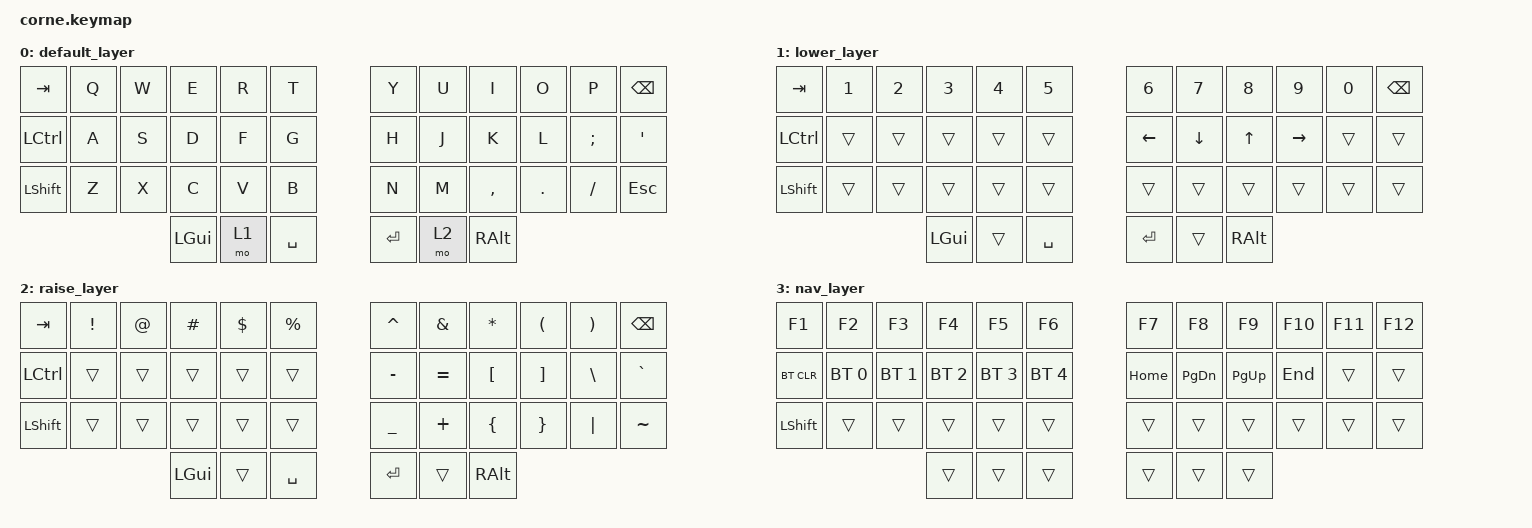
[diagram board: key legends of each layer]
/*
 * Copyright (c) 2020 The ZMK Contributors
 *
 * SPDX-License-Identifier: MIT
 */

#include <behaviors.dtsi>
#include <dt-bindings/zmk/keys.h>
#include <dt-bindings/zmk/bt.h>

/ {
        /*
         * COMBO : J + K simultanément = ESC (timeout 50ms)
         *
         * Les index de touches correspondent aux positions physiques sur le Corne :
         *   0–11  = rangée du haut  (gauche puis droite)
         *   12–23 = rangée du milieu
         *   24–35 = rangée du bas
         *   36–41 = pouces
         *
         * J = position 19 (rangée milieu, 2e touche droite)
         * K = position 20 (rangée milieu, 3e touche droite)
         *
         * Ce combo est actif sur tous les layers (aucune restriction de layer).
         * 50ms est le sweet spot communautaire : assez court pour éviter les
         * déclenchements accidentels en tapant vite, assez long pour être fiable.
         * Si tu trouves que ça rate, monte à 60 ou 70ms dans timeout-ms.
         */
        combos {
                compatible = "zmk,combos";
                combo_esc {
                        timeout-ms = <50>;
                        key-positions = <19 20>;
                        bindings = <&kp ESC>;
                };
        };

        /*
         * TRI-LAYER : quand lower (layer 1) ET raise (layer 2) sont actifs
         * simultanément, ZMK active automatiquement le layer 3 (navigation).
         * Tu n'as pas besoin d'une touche dédiée — c'est automatique.
         */
        conditional_layers {
                compatible = "zmk,conditional-layers";
                tri_layer {
                        if-layers = <1 2>;
                        then-layer = <3>;
                };
        };

        keymap {
                compatible = "zmk,keymap";

                default_layer {
// -----------------------------------------------------------------------------------------
// |  TAB |  Q  |  W  |  E  |  R  |  T  |   |  Y  |  U   |  I  |  O  |  P  | BSPC |
// | CTRL |  A  |  S  |  D  |  F  |  G  |   |  H  |  J   |  K  |  L  |  ;  |  '   |
// | SHFT |  Z  |  X  |  C  |  V  |  B  |   |  N  |  M   |  ,  |  .  |  /  | ESC  |
//                    | GUI | LWR | SPC |   | ENT | RSE  | ALT |
                        bindings = <
   &kp TAB   &kp Q &kp W &kp E &kp R &kp T   &kp Y &kp U  &kp I     &kp O   &kp P    &kp BSPC
   &kp LCTRL &kp A &kp S &kp D &kp F &kp G   &kp H &kp J  &kp K     &kp L   &kp SEMI &kp SQT
   &kp LSHFT &kp Z &kp X &kp C &kp V &kp B   &kp N &kp M  &kp COMMA &kp DOT &kp FSLH &kp ESC
                  &kp LGUI &mo 1 &kp SPACE   &kp RET &mo 2 &kp RALT
                        >;
                };

                lower_layer {
// -----------------------------------------------------------------------------------------
// |  TAB |  1  |  2  |  3  |  4  |  5  |   |  6  |  7  |  8  |  9  |  0  | BSPC |
// | CTRL |     |     |     |     |     |   | LFT | DWN |  UP | RGT |     |      |
// | SHFT |     |     |     |     |     |   |     |     |     |     |     |      |
//                    | GUI |     | SPC |   | ENT |     | ALT |
                        bindings = <
   &kp TAB   &kp N1 &kp N2 &kp N3 &kp N4 &kp N5       &kp N6   &kp N7   &kp N8 &kp N9    &kp N0 &kp BSPC
   &kp LCTRL &trans &trans &trans &trans &trans         &kp LEFT &kp DOWN &kp UP &kp RIGHT &trans &trans
   &kp LSHFT &trans &trans &trans &trans &trans         &trans   &trans   &trans &trans    &trans &trans
                           &kp LGUI &trans &kp SPACE   &kp RET  &trans   &kp RALT
                        >;
                };

                raise_layer {
// -----------------------------------------------------------------------------------------
// |  TAB |  !  |  @  |  #  |  $  |  %  |   |  ^  |  &  |  *  |  (  |  )  | BSPC |
// | CTRL |     |     |     |     |     |   |  -  |  =  |  [  |  ]  |  \  |  `   |
// | SHFT |     |     |     |     |     |   |  _  |  +  |  {  |  }  | "|" |  ~   |
//                    | GUI |     | SPC |   | ENT |     | ALT |
                        bindings = <
   &kp TAB   &kp EXCL &kp AT &kp HASH &kp DLLR &kp PRCNT   &kp CARET &kp AMPS  &kp ASTRK &kp LPAR &kp RPAR &kp BSPC
   &kp LCTRL &trans   &trans &trans   &trans   &trans       &kp MINUS &kp EQUAL &kp LBKT  &kp RBKT &kp BSLH &kp GRAVE
   &kp LSHFT &trans   &trans &trans   &trans   &trans       &kp UNDER &kp PLUS  &kp LBRC  &kp RBRC &kp PIPE &kp TILDE
                              &kp LGUI &trans  &kp SPACE    &kp RET   &trans    &kp RALT
                        >;
                };

                nav_layer {
// -----------------------------------------------------------------------------------------
// Layer nav + BT + F1-F12 — actif quand Lower + Raise sont tenus en même temps.
//
// Rangée du haut  → F1-F6 (gauche) / F7-F12 (droite)
//   Utile pour Eclipse : F3 open declaration, F5 step into,
//   F8 resume, F11 debug, F2 rename, etc.
//
// Rangée du milieu (gauche) → BT_CLR / BT1 / BT2 / BT3 / BT4 / BT5
//   Sécurisé ici : impossible de déclencher BT_CLR par accident
//   car le tri-layer nécessite les deux pouces simultanément.
//
// Rangée du milieu (droite) → HOME / PG_DN / PG_UP / END
//   Même position que les flèches (H/J/K/L) pour cohérence directionnelle.
//
// LSHFT remis explicitement pour Shift+Home/End (sélection de texte).
// -----------------------------------------------------------------------------------------
// |  F1  |  F2  |  F3  |  F4  |  F5  |  F6  |   |  F7  |  F8  |  F9  | F10  | F11  | F12  |
// |BTCLR | BT1  | BT2  | BT3  | BT4  | BT5  |   | HOME | PGDN | PGUP | END  |      |      |
// | SHFT |      |      |      |      |      |   |      |      |      |      |      |      |
//                       |      |      |      |   |      |      |      |
                        bindings = <
   &kp F1     &kp F2       &kp F3       &kp F4       &kp F5       &kp F6         &kp F7   &kp F8    &kp F9    &kp F10 &kp F11 &kp F12
   &bt BT_CLR &bt BT_SEL 0 &bt BT_SEL 1 &bt BT_SEL 2 &bt BT_SEL 3 &bt BT_SEL 4   &kp HOME &kp PG_DN &kp PG_UP &kp END &trans  &trans
   &kp LSHFT  &trans       &trans       &trans       &trans       &trans         &trans   &trans    &trans    &trans  &trans  &trans
                                        &trans &trans &trans       &trans         &trans   &trans
                        >;
                };
        };
};
